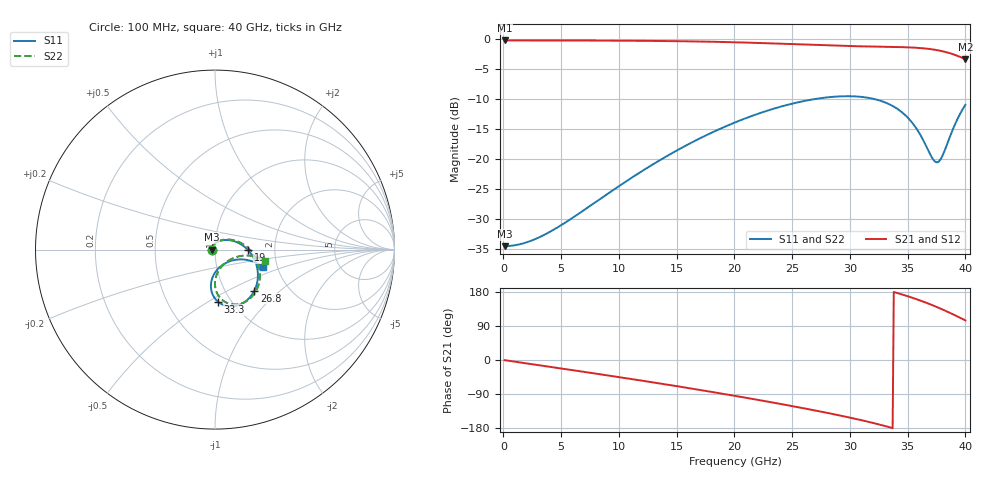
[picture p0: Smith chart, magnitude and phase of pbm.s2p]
! B_s8_L1L8_d200: physics-based via model (prototype), ports at the via
# Hz S RI R 50
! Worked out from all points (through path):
!   400 points, 100 MHz to 40 GHz, reference 50 ohm
!   highest |S21| = -0.17 dB at 100 MHz (marker M1); lowest = -3.3 dB at 40 GHz (marker M2)
!   group delay of S21, straight-line fit = 16.1 ps
!   lowest |S11| = -34.5 dB at 100 MHz (marker M3), VSWR 1.04, Z = 48.1 + j0.0532 ohm
!   |S11| at or under -10 dB: start of sweep to 26.76 GHz; 32.25 GHz to end of sweep
!   |S22| runs from -34.5 to -9.5 dB; largest |S21 - S12| = 0
!   S11 on the Smith chart (normalised r, x): 100 MHz: 0.96, +0.00; 19 GHz: 1.45, -0.01; 26.8 GHz: 1.36, -0.69; 33.3 GHz: 0.87, -0.55; 40 GHz: 1.68, -0.36
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1e8  -0.0189 0.000553  0.981 -0.00762  0.981 -0.00762  -0.0189 0.000546
2.9e9  -0.0152 0.0159  0.9559 -0.2193  0.9559 -0.2193  -0.0153 0.0158
6.8e9  0.0032 0.0367  0.8442 -0.4966  0.8442 -0.4966  0.00233 0.0368
1e10  0.0329 0.05  0.6887 -0.6927  0.6887 -0.6927  0.0311 0.0512
1.34e10  0.0812 0.0525  0.4674 -0.8518  0.4674 -0.8518  0.0787 0.0562
1.63e10  0.1337 0.0357  0.242 -0.9329  0.242 -0.9329  0.1315 0.0431
1.9e10  0.1843 -0.00267  0.0138 -0.9527  0.0138 -0.9527  0.184 0.00922
2.01e10  0.2027 -0.0255  -0.0809 -0.9437  -0.0809 -0.9437  0.204 -0.0117
2.34e10  0.2376 -0.1168  -0.3569 -0.8548  -0.3569 -0.8548  0.2461 -0.0978
2.67e10  0.2211 -0.2251  -0.5976 -0.6761  -0.5976 -0.6761  0.2403 -0.2045
2.68e10  0.2196 -0.2283  -0.6041 -0.6693  -0.6041 -0.6693  0.2391 -0.2077
3.05e10  0.1213 -0.3124  -0.7989 -0.3658  -0.7989 -0.3658  0.1524 -0.2984
3.33e10  0.0176 -0.2911  -0.8662 -0.0557  -0.8662 -0.0557  0.0495 -0.2873
3.34e10  0.0144 -0.2883  -0.8666 -0.0431  -0.8666 -0.0431  0.046 -0.2849
3.45e10  -0.0144 -0.2471  -0.8568 0.1032  -0.8568 0.1032  0.0137 -0.2471
3.54e10  -0.0228 -0.2007  -0.8246 0.2312  -0.8246 0.2312  0.000435 -0.2018
3.65e10  -0.00432 -0.1354  -0.7452 0.3906  -0.7452 0.3906  0.0115 -0.1345
3.71e10  0.0225 -0.1014  -0.6796 0.473  -0.6796 0.473  0.0342 -0.0974
3.75e10  0.0472 -0.082  -0.6264 0.5234  -0.6264 0.5234  0.0565 -0.0749
3.8e10  0.0853 -0.0639  -0.5499 0.5786  -0.5499 0.5786  0.0921 -0.0519
3.88e10  0.1578 -0.0549  -0.4075 0.6419  -0.4075 0.6419  0.1631 -0.0332
4e10  0.2675 -0.0986  -0.1715 0.6618  -0.1715 0.6618  0.278 -0.0611
